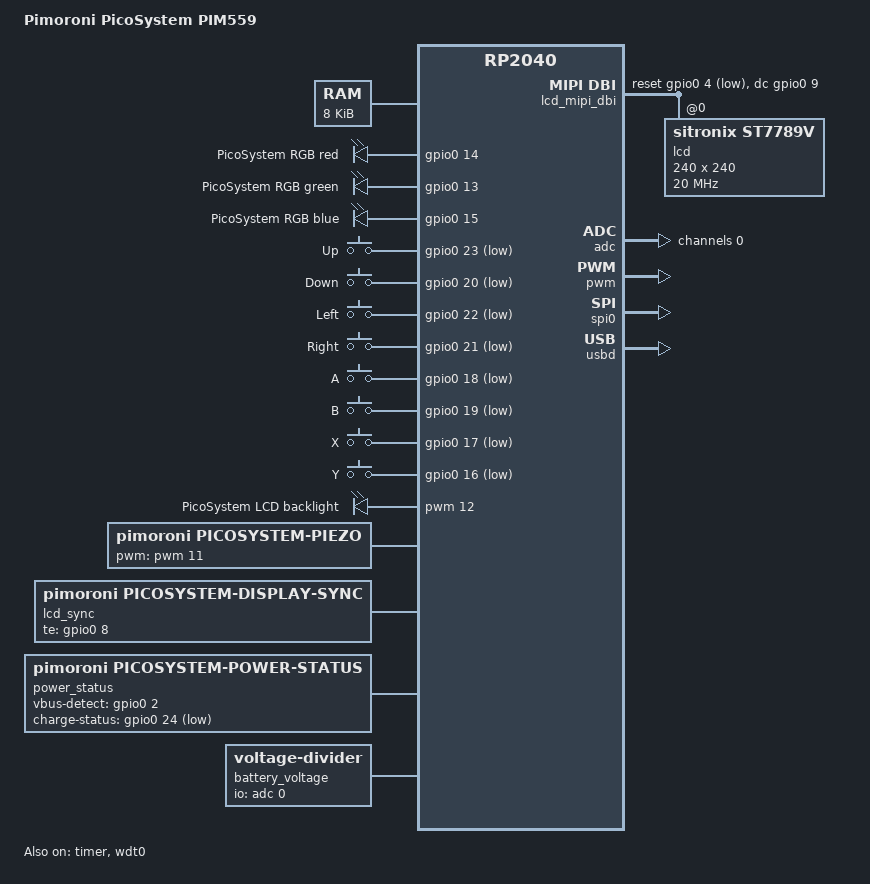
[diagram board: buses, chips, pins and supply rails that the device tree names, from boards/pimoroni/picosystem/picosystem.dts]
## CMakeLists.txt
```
# SPDX-License-Identifier: Apache-2.0

cmake_minimum_required(VERSION 3.20.0)

list(APPEND BOARD_ROOT ${CMAKE_CURRENT_SOURCE_DIR})
find_package(Zephyr REQUIRED HINTS $ENV{ZEPHYR_BASE})
project(toy_factory)

# Snapshot growth must leave room for transitive renderer and driver calls on
# the 5 KiB stacks. Emit per-function usage for inspection as well as a build gate.
set_source_files_properties(src/game_demo.c PROPERTIES
	COMPILE_OPTIONS "-fstack-usage;-Werror=frame-larger-than=3072")

if(CONFIG_TOY_FACTORY_CORE1_RUNTIME)
	zephyr_linker_sources(SECTIONS src/core1_ram.ld)
endif()

target_sources(app PRIVATE
	src/battery.c
	src/dense_scene.c
	src/diagnostic_shell.c
	src/display_profile.c
	src/display_sync.c
	src/fixed_rate_scheduler.c
	src/game_control.c
	src/game_demo.c
	src/game_snapshot.c
	src/garden_agent.c
	src/garden_agent_neural.c
	src/garden_agent_neural_codec.c
	src/garden_light.c
	src/garden_climate.c
	src/garden_world.c
	src/game_scene_clockwork.c
	src/game_scene_hourglass.c
	src/game_scene_marble_machine.c
	src/game_scene_machine_lab.c
	src/game_scene_selector.c
	src/game_world.c
	src/granular_world.c
	src/graphics.c
	src/graphics_raster.c
	src/main.c
	src/physics_chain_fixture.c
	src/physics_world.c
	src/physics_profile.c
	src/piezo.c
	src/power_status.c
	src/scene_renderer.c
)

target_sources_ifdef(CONFIG_TOY_FACTORY_CORE1_RUNTIME app PRIVATE src/core1_runtime.c)

if(CONFIG_SOC_SERIES_RP2040)
	# Zephyr otherwise uses software AEABI division. The pinned Pico SDK wrappers
	# preserve compiler semantics and save/restore each core's divider across IRQs.
	set(pico_divider_dir
		${ZEPHYR_HAL_RPI_PICO_MODULE_DIR}/src/rp2_common/pico_divider)
	target_sources(app PRIVATE ${pico_divider_dir}/divider_hardware.S)
	target_include_directories(app PRIVATE
		${ZEPHYR_HAL_RPI_PICO_MODULE_DIR}/src/rp2_common/hardware_divider/include)
	foreach(divider_symbol
		__aeabi_idiv
		__aeabi_idivmod
		__aeabi_ldivmod
		__aeabi_uidiv
		__aeabi_uidivmod
		__aeabi_uldivmod)
		target_link_options(app PUBLIC "-Wl,--wrap=${divider_symbol}")
	endforeach()
endif()
```

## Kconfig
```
# Copyright (c) 2026 Toy Factory contributors
# SPDX-License-Identifier: Apache-2.0

mainmenu "Toy Factory"

source "Kconfig.zephyr"

menu "Toy Factory"

config TOY_FACTORY_CORE1_RUNTIME
	bool "Enable the RP2040 auxiliary-core runtime"
	default y
	depends on SOC_RP2040
	help
	  Reserve the RP2040's two 4 KiB auxiliary SRAM banks and launch core 1 as
	  a bounded bare-metal worker. Zephyr and all device drivers remain on
	  core 0.

config TOY_FACTORY_CORE1_FULL_FRAME_RENDERER
	bool "Render every game frame on RP2040 core 1"
	default y if SPI_PL022_DMA
	depends on TOY_FACTORY_CORE1_RUNTIME
	help
	  Copy each immutable game snapshot to core 1 and rasterize a complete
	  framebuffer there. Core 0 keeps ownership of Zephyr, physics, USB, TE
	  timing, and the display DMA transfer. This defaults on for the PL022 DMA
	  transport used by the high-throughput build; slower transports retain the
	  damage-region renderer.

config TOY_FACTORY_RIGID_PHYSICS_IN_SRAM
	bool "Copy the rigid-physics hot path into SRAM"
	default y if TOY_FACTORY_CORE1_FULL_FRAME_RENDERER
	depends on SOC_RP2040
	help
	  Execute the large rigid-body step from SRAM instead of directly from XIP
	  flash. This avoids flash contention during rigid scenes, but consumes about
	  20 KiB of SRAM even when a non-rigid scene is active. Disable this for
	  controlled XIP measurements or RAM-constrained scenario builds.

choice TOY_FACTORY_HOURGLASS_POPULATION
	prompt "Hourglass grain population"
	default TOY_FACTORY_HOURGLASS_GRAINS_320
	help
	  Select a fixed deterministic packing for normal play or controlled device
	  profiling. Every population uses the same solver and rendering settings.

config TOY_FACTORY_HOURGLASS_GRAINS_96
	bool "96 grains (sparse benchmark)"

config TOY_FACTORY_HOURGLASS_GRAINS_192
	bool "192 grains (previous baseline)"

config TOY_FACTORY_HOURGLASS_GRAINS_320
	bool "320 grains (normal)"

config TOY_FACTORY_HOURGLASS_GRAINS_384
	bool "384 grains (stretch benchmark)"

endchoice

config TOY_FACTORY_GRANULAR_PHYSICS_IN_SRAM
	bool "Copy the granular-physics hot path into SRAM"
	default n
	depends on SOC_RP2040
	help
	  Execute the compact granular step from SRAM instead of XIP flash. This is
	  an optional placement experiment; unlike rigid physics, it is not enabled
	  automatically by the full-frame renderer.

config TOY_FACTORY_GRANULAR_WORK_COUNTERS
	bool "Collect granular solver work counters on every tick"
	default n
	help
	  Count broad-phase candidates, contacts, corrections, boundary work, and
	  grid occupancy for live diagnostics. This is disabled by default because
	  the bookkeeping has measurable cost in dense scenes. The explicit
	  "picosystem profile granular" command always collects these counters;
	  deterministic simulation state is unaffected.

config TOY_FACTORY_DISPLAY_DMA_HIGH_PRIORITY
	bool "Prioritize display DMA on the RP2040 bus fabric"
	default n
	depends on SOC_RP2040 && DMA
	help
	  Give the RP2040 DMA read and write masters high bus-arbitration priority.
	  This can reduce display-transfer jitter, but it can also delay both CPU
	  cores' SRAM access enough to hurt the 60 Hz physics deadline. It is kept
	  off by default and exists for controlled A/B measurements.

endmenu
```

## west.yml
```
manifest:
  version: "1.2"

  remotes:
    - name: zephyrproject-rtos
      url-base: https://github.com/zephyrproject-rtos

  projects:
    - name: zephyr
      remote: zephyrproject-rtos
      revision: v4.4.2
      import:
        # These are the only external modules required by the RP2040 port.
        name-allowlist:
          - cmsis_6
          - hal_rpi_pico

  self:
    path: app
```

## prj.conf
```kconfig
# Keep bring-up observable. USB CDC console defaults come from the PicoSystem
# board definition.
CONFIG_ADC=y
CONFIG_BASE64=y
CONFIG_CDC_ACM_SERIAL_MANUFACTURER_STRING="Toy Factory"
CONFIG_CDC_ACM_SERIAL_PRODUCT_STRING="Toy Factory PicoSystem"
CONFIG_DISPLAY=y
CONFIG_CRC=y
CONFIG_GPIO=y
CONFIG_INIT_STACKS=y
CONFIG_LOG=y
CONFIG_LOG_DEFAULT_LEVEL=3
CONFIG_MBOX=y
CONFIG_PWM=y
CONFIG_REBOOT=y
CONFIG_RETAINED_MEM=y
CONFIG_RETENTION=y
CONFIG_RETENTION_BOOT_MODE=y
CONFIG_SHELL=y
CONFIG_SHELL_BACKEND_SERIAL=y
CONFIG_SHELL_BACKEND_SERIAL_CHECK_DTR=y
CONFIG_SHELL_BACKEND_SERIAL_LOG_MESSAGE_QUEUE_SIZE=512
CONFIG_SHELL_BACKEND_SERIAL_RX_RING_BUFFER_SIZE=128
CONFIG_SHELL_BACKEND_SERIAL_TX_RING_BUFFER_SIZE=1024
CONFIG_SHELL_CMDS_RESIZE=n
CONFIG_SHELL_DEVICE_HELPERS=n
CONFIG_SHELL_LOG_BACKEND=y
CONFIG_SHELL_PROMPT_UART="toy-factory:~$ "
CONFIG_SHELL_PROMPT_CHANGE=n
# The synchronous physics profiler measures about 3.8 KiB on the shell thread.
CONFIG_SHELL_STACK_SIZE=5120
CONFIG_SHELL_STATS=n
CONFIG_SHELL_WILDCARD=n
# Keep recovery and diagnostics responsive even when the simulation overruns.
CONFIG_SHELL_THREAD_PRIORITY_OVERRIDE=y
CONFIG_SHELL_THREAD_PRIORITY=1
CONFIG_SPI=y
CONFIG_ST7789V_RGB565X=y
CONFIG_THREAD_STACK_INFO=y
CONFIG_UART_LINE_CTRL=y
CONFIG_DATE_SHELL=n
CONFIG_DEVICE_SHELL=n
CONFIG_DEVMEM_SHELL=n
CONFIG_KERNEL_SHELL=n
CONFIG_ASSERT=y
# Collision narrow phase adds a bounded but deeper physics call path.
CONFIG_MAIN_STACK_SIZE=5120
CONFIG_MAIN_THREAD_PRIORITY=0
```

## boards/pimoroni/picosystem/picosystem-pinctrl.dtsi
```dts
/*
 * Copyright (c) 2026 Toy Factory contributors
 *
 * SPDX-License-Identifier: Apache-2.0
 */

#include <zephyr/dt-bindings/pinctrl/rpi-pico-rp2040-pinctrl.h>

&pinctrl {
	picosystem_adc_default: picosystem_adc_default {
		group1 {
			pinmux = <ADC_CH0_P26>;
			input-enable;
		};
	};

	picosystem_spi0_default: picosystem_spi0_default {
		group1 {
			pinmux = <SPI0_SCK_P6>, <SPI0_TX_P7>;
		};
	};

	picosystem_pwm_default: picosystem_pwm_default {
		group1 {
			pinmux = <PWM_5B_P11>, <PWM_6A_P12>;
		};
	};
};
```

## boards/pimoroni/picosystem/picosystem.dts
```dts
/*
 * Copyright (c) 2026 Toy Factory contributors
 *
 * SPDX-License-Identifier: Apache-2.0
 */

/dts-v1/;

#include <raspberrypi/rpi_pico/rp2040.dtsi>
#include <vendor/raspberrypi/rp2040-boot-mode-retention.dtsi>
#include <zephyr/dt-bindings/gpio/gpio.h>
#include <zephyr/dt-bindings/input/input-event-codes.h>
#include <zephyr/dt-bindings/mipi_dbi/mipi_dbi.h>
#include <zephyr/dt-bindings/pwm/pwm.h>
#include "picosystem-pinctrl.dtsi"

/ {
	model = "Pimoroni PicoSystem PIM559";
	compatible = "pimoroni,picosystem";

	core1_ram: memory@20040000 {
		compatible = "zephyr,memory-region", "mmio-sram";
		reg = <0x20040000 0x2000>;
		zephyr,memory-region = "CORE1_RAM";
	};

	chosen {
		zephyr,sram = &sram0;
		zephyr,flash = &flash0;
		zephyr,flash-controller = &ssi;
		zephyr,code-partition = &code_partition;
		zephyr,display = &lcd;
	};

	aliases {
		led0 = &led_blue;
		sw0 = &button_x;
		watchdog0 = &wdt0;
	};

	leds {
		compatible = "gpio-leds";

		led_red: led_red {
			gpios = <&gpio0 14 GPIO_ACTIVE_HIGH>;
			label = "PicoSystem RGB red";
		};

		led_green: led_green {
			gpios = <&gpio0 13 GPIO_ACTIVE_HIGH>;
			label = "PicoSystem RGB green";
		};

		led_blue: led_blue {
			gpios = <&gpio0 15 GPIO_ACTIVE_HIGH>;
			label = "PicoSystem RGB blue";
		};
	};

	buttons {
		compatible = "gpio-keys";

		button_up: button_up {
			gpios = <&gpio0 23 (GPIO_PULL_UP | GPIO_ACTIVE_LOW)>;
			label = "Up";
			zephyr,code = <INPUT_KEY_UP>;
		};

		button_down: button_down {
			gpios = <&gpio0 20 (GPIO_PULL_UP | GPIO_ACTIVE_LOW)>;
			label = "Down";
			zephyr,code = <INPUT_KEY_DOWN>;
		};

		button_left: button_left {
			gpios = <&gpio0 22 (GPIO_PULL_UP | GPIO_ACTIVE_LOW)>;
			label = "Left";
			zephyr,code = <INPUT_KEY_LEFT>;
		};

		button_right: button_right {
			gpios = <&gpio0 21 (GPIO_PULL_UP | GPIO_ACTIVE_LOW)>;
			label = "Right";
			zephyr,code = <INPUT_KEY_RIGHT>;
		};

		button_a: button_a {
			gpios = <&gpio0 18 (GPIO_PULL_UP | GPIO_ACTIVE_LOW)>;
			label = "A";
			zephyr,code = <INPUT_KEY_A>;
		};

		button_b: button_b {
			gpios = <&gpio0 19 (GPIO_PULL_UP | GPIO_ACTIVE_LOW)>;
			label = "B";
			zephyr,code = <INPUT_KEY_B>;
		};

		button_x: button_x {
			gpios = <&gpio0 17 (GPIO_PULL_UP | GPIO_ACTIVE_LOW)>;
			label = "X";
			zephyr,code = <INPUT_KEY_X>;
		};

		button_y: button_y {
			gpios = <&gpio0 16 (GPIO_PULL_UP | GPIO_ACTIVE_LOW)>;
			label = "Y";
			zephyr,code = <INPUT_KEY_Y>;
		};
	};

	pwm_leds {
		compatible = "pwm-leds";

		lcd_backlight: lcd-backlight {
			pwms = <&pwm 12 PWM_USEC(50) PWM_POLARITY_NORMAL>;
			label = "PicoSystem LCD backlight";
		};
	};

	piezo: piezo {
		compatible = "pimoroni,picosystem-piezo";
		pwms = <&pwm 11 PWM_HZ(440) PWM_POLARITY_NORMAL>;
		status = "okay";
	};

	lcd_sync: lcd-sync {
		compatible = "pimoroni,picosystem-display-sync";
		te-gpios = <&gpio0 8 GPIO_ACTIVE_HIGH>;
		mipi-dbi = <&lcd_mipi_dbi>;
		status = "okay";
	};

	power_status: power-status {
		compatible = "pimoroni,picosystem-power-status";
		vbus-detect-gpios = <&gpio0 2 GPIO_ACTIVE_HIGH>;
		charge-status-gpios = <&gpio0 24 (GPIO_PULL_UP | GPIO_ACTIVE_LOW)>;
		status = "okay";
	};

	battery_voltage: battery-voltage {
		compatible = "voltage-divider";
		io-channels = <&adc 0>;
		output-ohms = <750000>;
		full-ohms = <(1500000 + 750000)>;
		status = "okay";
	};

	lcd_mipi_dbi: mipi-dbi {
		compatible = "zephyr,mipi-dbi-spi";
		spi-dev = <&spi0>;
		dc-gpios = <&gpio0 9 GPIO_ACTIVE_HIGH>;
		reset-gpios = <&gpio0 4 GPIO_ACTIVE_LOW>;
		write-only;
		#address-cells = <1>;
		#size-cells = <0>;
		status = "okay";

		lcd: st7789v@0 {
			compatible = "sitronix,st7789v";
			reg = <0>;
			mipi-max-frequency = <20000000>;
			width = <240>;
			height = <240>;
			x-offset = <0>;
			y-offset = <0>;
			vcom = <0x25>;
			gctrl = <0x14>;
			vrhs = <0x12>;
			vdvs = <0x20>;
			mdac = <0x04>;
			gamma = <0x01>;
			colmod = <0x05>;
			lcm = <0x2c>;
			porch-param = [0c 0c 00 33 33];
			cmd2en-param = [5a 69 02 01];
			pwctrl1-param = [a4 a1];
			pvgam-param = [d0 04 0d 11 13 2b 3f 54 4c 18 0d 0b 1f 23];
			nvgam-param = [d0 04 0c 11 13 2c 3f 44 51 2f 1f 1f 20 23];
			ram-param = [00 f0];
			rgb-param = [cd 08 14];
			mipi-mode = "MIPI_DBI_MODE_SPI_4WIRE";
			status = "okay";
		};
	};
};

/* Keep SRAM4 and SRAM5 exclusively available to the bare-metal core-1 worker. */
&sram0 {
	reg = <0x20000004 0x3fffc>;
};

&adc {
	pinctrl-0 = <&picosystem_adc_default>;
	pinctrl-names = "default";
	vref-mv = <3300>;
	#address-cells = <1>;
	#size-cells = <0>;
	status = "okay";

	channel@0 {
		reg = <0>;
		zephyr,gain = "ADC_GAIN_1";
		zephyr,reference = "ADC_REF_INTERNAL";
		zephyr,acquisition-time = <ADC_ACQ_TIME_DEFAULT>;
		zephyr,resolution = <12>;
	};
};

&flash0 {
	reg = <0x10000000 DT_SIZE_M(16)>;
	ranges = <0x0 0x10000000 DT_SIZE_M(16)>;

	partitions {
		compatible = "fixed-partitions";
		#address-cells = <1>;
		#size-cells = <1>;

		second_stage_bootloader: partition@0 {
			label = "second_stage_bootloader";
			reg = <0x00000000 0x100>;
			read-only;
		};

		code_partition: partition@100 {
			label = "code-partition";
			reg = <0x100 (DT_SIZE_M(16) - 0x100)>;
			read-only;
		};
	};
};

&gpio0 {
	status = "okay";
};

&mbox {
	status = "okay";
};

&pwm {
	pinctrl-0 = <&picosystem_pwm_default>;
	pinctrl-names = "default";
	status = "okay";
};

&spi0 {
	pinctrl-0 = <&picosystem_spi0_default>;
	pinctrl-names = "default";
	cs-gpios = <&gpio0 5 GPIO_ACTIVE_LOW>;
	status = "okay";
};

&timer {
	status = "okay";
};

&wdt0 {
	status = "okay";
};

zephyr_udc0: &usbd {
	status = "okay";
};

&vreg {
	regulator-always-on;
	regulator-allowed-modes = <REGULATOR_RPI_PICO_MODE_NORMAL>;
};

#include <../boards/common/usb/cdc_acm_serial.dtsi>
```

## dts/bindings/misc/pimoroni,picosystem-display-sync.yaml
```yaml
# Copyright (c) 2026 Toy Factory contributors
# SPDX-License-Identifier: Apache-2.0

description: LCD tearing-effect signal on the Pimoroni PicoSystem

compatible: "pimoroni,picosystem-display-sync"

include: base.yaml

properties:
  te-gpios:
    type: phandle-array
    required: true
    description: Active-high ST7789 tearing-effect output.

  mipi-dbi:
    type: phandle
    required: true
    description: MIPI DBI controller used to enable the panel signal.
```

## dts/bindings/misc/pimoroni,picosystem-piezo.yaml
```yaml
# Copyright (c) 2026 Toy Factory contributors
# SPDX-License-Identifier: Apache-2.0

description: PWM-driven piezo transducer on the Pimoroni PicoSystem

compatible: "pimoroni,picosystem-piezo"

include: base.yaml

properties:
  pwms:
    type: phandle-array
    required: true
    description: PWM specifier driving the piezo transducer.
```

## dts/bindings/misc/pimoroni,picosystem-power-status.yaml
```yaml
# Copyright (c) 2026 Toy Factory contributors
# SPDX-License-Identifier: Apache-2.0

description: USB power and LiPo charger status inputs on the Pimoroni PicoSystem

compatible: "pimoroni,picosystem-power-status"

include: base.yaml

properties:
  vbus-detect-gpios:
    type: phandle-array
    required: true
    description: |
      Active-high divided VBUS input. This pin also enables the board's
      automatic red charge indicator and must remain configured as an input.

  charge-status-gpios:
    type: phandle-array
    required: true
    description: Active-low status output from the LiPo charger.
```

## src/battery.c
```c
/*
 * Copyright (c) 2026 Toy Factory contributors
 *
 * SPDX-License-Identifier: Apache-2.0
 */

#include "battery.h"

#include <errno.h>
#include <limits.h>
#include <stdbool.h>
#include <stdint.h>

#include <zephyr/drivers/adc.h>
#include <zephyr/drivers/adc/voltage_divider.h>
#include <zephyr/logging/log.h>
#include <zephyr/sys/util.h>

LOG_MODULE_REGISTER(picosystem_battery, LOG_LEVEL_INF);

#define BATTERY_SAMPLE_COUNT     16U
#define BATTERY_PLAUSIBLE_MIN_MV 2500U
#define BATTERY_PLAUSIBLE_MAX_MV 4300U

static const struct voltage_divider_dt_spec battery_voltage =
	VOLTAGE_DIVIDER_DT_SPEC_GET(DT_NODELABEL(battery_voltage));
static bool battery_initialized;

BUILD_ASSERT(BATTERY_SAMPLE_COUNT > 0U);
BUILD_ASSERT((BATTERY_SAMPLE_COUNT * BIT(12)) <= UINT32_MAX);

int picosystem_battery_init(void)
{
	if (!adc_is_ready_dt(&battery_voltage.port)) {
		LOG_ERR("Battery ADC controller is not ready");
		return -ENODEV;
	}

	const int err = adc_channel_setup_dt(&battery_voltage.port);
	if (err != 0) {
		LOG_ERR("Failed to configure battery ADC channel (%d)", err);
		return err;
	}

	battery_initialized = true;
	return 0;
}

int picosystem_battery_read(struct picosystem_battery_sample *sample)
{
	if (sample == NULL) {
		return -EINVAL;
	}

	if (!battery_initialized) {
		return -EACCES;
	}

	uint16_t raw_samples[BATTERY_SAMPLE_COUNT];
	const struct adc_sequence_options options = {
		.extra_samplings = BATTERY_SAMPLE_COUNT - 1U,
		.interval_us = 0U,
	};
	struct adc_sequence sequence = {
		.options = &options,
		.buffer = raw_samples,
		.buffer_size = sizeof(raw_samples),
	};

	int err = adc_sequence_init_dt(&battery_voltage.port, &sequence);
	if (err != 0) {
		LOG_ERR("Failed to initialize battery ADC sequence (%d)", err);
		return err;
	}

	err = adc_read_dt(&battery_voltage.port, &sequence);
	if (err != 0) {
		LOG_ERR("Failed to read battery ADC samples (%d)", err);
		return err;
	}

	uint32_t raw_sum = 0U;
	for (size_t i = 0U; i < ARRAY_SIZE(raw_samples); ++i) {
		raw_sum += raw_samples[i];
	}

	const uint16_t raw_average = DIV_ROUND_CLOSEST(raw_sum, BATTERY_SAMPLE_COUNT);
	int32_t sense_microvolts = raw_average;

	err = adc_raw_to_microvolts_dt(&battery_voltage.port, &sense_microvolts);
	if (err != 0) {
		LOG_ERR("Failed to convert battery ADC reading (%d)", err);
		return err;
	}

	int64_t battery_microvolts = sense_microvolts;
	err = voltage_divider_scale64_dt(&battery_voltage, &battery_microvolts);
	if (err != 0) {
		LOG_ERR("Failed to scale battery divider voltage (%d)", err);
		return err;
	}

	if ((battery_microvolts < 0) || (battery_microvolts > ((int64_t)UINT16_MAX * 1000))) {
		LOG_ERR("Converted battery voltage is out of range (%lld uV)", battery_microvolts);
		return -ERANGE;
	}

	const uint16_t millivolts = (uint16_t)((battery_microvolts + 500) / 1000);

	const struct picosystem_battery_sample next_sample = {
		.millivolts = millivolts,
		.raw_average = raw_average,
		.plausible = (millivolts >= BATTERY_PLAUSIBLE_MIN_MV) &&
			     (millivolts <= BATTERY_PLAUSIBLE_MAX_MV),
	};

	*sample = next_sample;
	return 0;
}
```

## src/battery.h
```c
/*
 * Copyright (c) 2026 Toy Factory contributors
 *
 * SPDX-License-Identifier: Apache-2.0
 */

#ifndef PICOSYSTEM_BATTERY_H
#define PICOSYSTEM_BATTERY_H

#include <stdbool.h>
#include <stdint.h>

struct picosystem_battery_sample {
	/* Divider-corrected battery voltage. */
	uint16_t millivolts;
	/* Mean 12-bit ADC code before voltage conversion. */
	uint16_t raw_average;
	/* True when the result is within a broad single-cell LiPo sanity range. */
	bool plausible;
};

/* Configure the battery voltage ADC channel. */
int picosystem_battery_init(void);

/* Read and average a bounded batch of battery voltage samples. */
int picosystem_battery_read(struct picosystem_battery_sample *sample);

#endif /* PICOSYSTEM_BATTERY_H */
```

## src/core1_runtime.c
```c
/*
 * Copyright (c) 2026 Toy Factory contributors
 *
 * SPDX-License-Identifier: Apache-2.0
 */

#include "core1_runtime.h"

#include <errno.h>
#include <stdbool.h>
#include <stddef.h>
#include <stdint.h>
#include <string.h>

#include <zephyr/device.h>
#include <zephyr/drivers/mbox.h>
#include <zephyr/irq.h>
#include <zephyr/kernel.h>
#include <zephyr/sys/util.h>

#include <hardware/regs/intctrl.h>
#include <hardware/regs/psm.h>
#include <hardware/regs/sio.h>
#include <hardware/structs/psm.h>
#include <hardware/structs/scb.h>
#include <hardware/structs/sio.h>
#include <hardware/structs/timer.h>
#include <hardware/sync.h>

#define CORE1_PROTOCOL_MAGIC       0x54463143U
#define CORE1_PROTOCOL_VERSION     7U
#define CORE1_RESERVED_BANK_BYTES  4096U
#define CORE1_STACK_BYTES          4096U
#define CORE1_STACK_WORDS          (CORE1_STACK_BYTES / sizeof(uint32_t))
#define CORE1_STACK_CANARY         0xa5a5a5a5U
#define CORE1_HANDSHAKE_TIMEOUT_MS 50
#define CORE1_COMMAND_TIMEOUT_MS   50
#define CORE1_VECTOR_COUNT         48U
#define CORE1_PING_XOR             0x6d5a56a9U
#define CORE1_FIFO_EVENT           0x54464556U
#define CORE1_SCENE_STRIP_ROWS     120U
#define CORE1_SCENE_STRIP_COUNT    DIV_ROUND_UP(PICOSYSTEM_GRAPHICS_HEIGHT, CORE1_SCENE_STRIP_ROWS)
#define CORE1_STORAGE_SECTION      __attribute__((section(".core1_ram"), aligned(4096), used))

enum core1_command {
	CORE1_COMMAND_NONE,
	CORE1_COMMAND_PING,
	CORE1_COMMAND_DRAW_DENSE,
	CORE1_COMMAND_RENDER_SCENE,
	CORE1_COMMAND_RENDER_SCENE_STREAM,
	CORE1_COMMAND_STOP,
};

struct core1_mailbox {
	uint32_t magic;
	uint32_t protocol_version;
	volatile uint32_t state;
	volatile uint32_t core_id;
	volatile uint32_t command;
	volatile uint32_t requested_sequence;
	volatile uint32_t completed_sequence;
	volatile uint32_t request_value;
	volatile uint32_t response_value;
	volatile uint32_t dense_stage_time_us[PICOSYSTEM_DENSE_SCENE_STAGE_COUNT];
	volatile uint32_t dense_total_time_us;
	struct picosystem_scene_snapshot scene_snapshot;
	volatile uint32_t scene_raster_time_us;
	struct picosystem_scene_render_progress scene_progress;
	volatile uint32_t ready_strip_count;
	volatile uint32_t scene_strip_count;
	volatile uint32_t heartbeat_count;
	volatile int32_t error;
};

struct core1_storage {
	struct core1_mailbox mailbox;
	uint8_t mailbox_bank_padding[CORE1_RESERVED_BANK_BYTES - sizeof(struct core1_mailbox)];
	uint32_t stack[CORE1_STACK_WORDS];
};

static struct core1_storage core1_storage CORE1_STORAGE_SECTION;
static bool core1_ready;
static const struct device *const core1_mailbox = DEVICE_DT_GET(DT_NODELABEL(mbox));

K_MUTEX_DEFINE(core1_command_mutex);
K_SEM_DEFINE(core1_event, 0U, 1U);

BUILD_ASSERT(sizeof(struct core1_mailbox) <= CORE1_RESERVED_BANK_BYTES);
BUILD_ASSERT(sizeof(struct core1_storage) == (2U * CORE1_RESERVED_BANK_BYTES));
BUILD_ASSERT((CORE1_STACK_BYTES % sizeof(uint32_t)) == 0U);
BUILD_ASSERT(CORE1_VECTOR_COUNT >= 48U);

static inline void core1_memory_barrier(void)
{
	__asm__ volatile("dmb" ::: "memory");
}

static inline void core1_send_event(void)
{
	if ((sio_hw->cpuid == 1U) && ((sio_hw->fifo_st & SIO_FIFO_ST_RDY_BITS) != 0U)) {
		sio_hw->fifo_wr = CORE1_FIFO_EVENT;
	}
	__asm__ volatile("sev" ::: "memory");
}

static inline void core1_wait_for_event(void)
{
	__asm__ volatile("wfe" ::: "memory");
}

static inline void core1_disable_interrupts(void)
{
	__asm__ volatile("cpsid i" ::: "memory");
}

static uint32_t ping_response(uint32_t challenge)
{
	return ((challenge << 7U) | (challenge >> 25U)) ^ CORE1_PING_XOR;
}

static int core1_draw_dense(uint32_t frame_index)
{
	const uint32_t total_start_us = timer_hw->timerawl;
	for (enum picosystem_dense_scene_stage stage = PICOSYSTEM_DENSE_SCENE_STAGE_BACKGROUND;
	     stage < PICOSYSTEM_DENSE_SCENE_STAGE_COUNT; ++stage) {
		const uint32_t stage_start_us = timer_hw->timerawl;
		const int err = picosystem_dense_scene_draw_stage(stage, frame_index);
		core1_storage.mailbox.dense_stage_time_us[stage] =
			timer_hw->timerawl - stage_start_us;
		if (err != 0) {
			core1_storage.mailbox.dense_total_time_us =
				timer_hw->timerawl - total_start_us;
			return err;
		}
	}
	core1_storage.mailbox.dense_total_time_us = timer_hw->timerawl - total_start_us;
	return 0;
}

static int core1_render_scene_stream(void)
{
	const uint32_t raster_start_us = timer_hw->timerawl;
	core1_storage.mailbox.scene_raster_time_us = 0U;
	core1_storage.mailbox.ready_strip_count = 0U;
	core1_storage.mailbox.scene_strip_count = CORE1_SCENE_STRIP_COUNT;
	core1_storage.mailbox.scene_progress = (struct picosystem_scene_render_progress){0};

	for (uint32_t strip_index = 0U; strip_index < CORE1_SCENE_STRIP_COUNT; ++strip_index) {
		const uint16_t y = strip_index * CORE1_SCENE_STRIP_ROWS;
		const struct picosystem_rect region = {
			.x = 0U,
			.y = y,
			.width = PICOSYSTEM_GRAPHICS_WIDTH,
			.height = MIN(CORE1_SCENE_STRIP_ROWS, PICOSYSTEM_GRAPHICS_HEIGHT - y),
		};
		const int err = picosystem_scene_render_region_observed(
			&core1_storage.mailbox.scene_snapshot, &region,
			&core1_storage.mailbox.scene_progress);
		if (err != 0) {
			core1_storage.mailbox.scene_raster_time_us =
				timer_hw->timerawl - raster_start_us;
			return err;
		}

		core1_memory_barrier();
		core1_storage.mailbox.ready_strip_count = strip_index + 1U;
		core1_send_event();
	}

	core1_storage.mailbox.scene_raster_time_us = timer_hw->timerawl - raster_start_us;
	return 0;
}

static void core1_publish_fault(int error) __attribute__((noreturn));

static void core1_publish_fault(int error)
{
	core1_storage.mailbox.error = error;
	core1_storage.mailbox.state = PICOSYSTEM_CORE1_STATE_FAULT;
	core1_memory_barrier();
	core1_send_event();

	while (true) {
		core1_wait_for_event();
	}
}

static void core1_fault_handler(void) __attribute__((noreturn));

static void core1_fault_handler(void)
{
	core1_publish_fault(-EFAULT);
}

static void core1_entry(void) __attribute__((noreturn));

static void core1_entry(void)
{
	core1_disable_interrupts();
	if ((core1_storage.mailbox.magic != CORE1_PROTOCOL_MAGIC) ||
	    (core1_storage.mailbox.protocol_version != CORE1_PROTOCOL_VERSION)) {
		core1_publish_fault(-EPROTO);
	}
	if (sio_hw->cpuid != 1U) {
		core1_publish_fault(-ENODEV);
	}

	core1_storage.mailbox.core_id = sio_hw->cpuid;
	core1_storage.mailbox.error = 0;
	core1_storage.mailbox.state = PICOSYSTEM_CORE1_STATE_IDLE;
	core1_memory_barrier();
	core1_send_event();

	uint32_t completed_sequence = core1_storage.mailbox.completed_sequence;
	while (true) {
		core1_memory_barrier();
		const uint32_t requested_sequence = core1_storage.mailbox.requested_sequence;
		if (requested_sequence == completed_sequence) {
			core1_wait_for_event();
			continue;
		}

		core1_storage.mailbox.state = PICOSYSTEM_CORE1_STATE_RUNNING;
		core1_storage.mailbox.error = 0;
		core1_memory_barrier();

		switch ((enum core1_command)core1_storage.mailbox.command) {
		case CORE1_COMMAND_PING:
			core1_storage.mailbox.response_value =
				ping_response(core1_storage.mailbox.request_value);
			break;
		case CORE1_COMMAND_DRAW_DENSE:
			for (size_t stage = 0U; stage < PICOSYSTEM_DENSE_SCENE_STAGE_COUNT;
			     ++stage) {
				core1_storage.mailbox.dense_stage_time_us[stage] = 0U;
			}
			core1_storage.mailbox.dense_total_time_us = 0U;
			core1_storage.mailbox.error =
				core1_draw_dense(core1_storage.mailbox.request_value);
			break;
		case CORE1_COMMAND_RENDER_SCENE: {
			const uint32_t raster_start_us = timer_hw->timerawl;
			core1_storage.mailbox.scene_raster_time_us = 0U;
			core1_storage.mailbox.scene_progress =
				(struct picosystem_scene_render_progress){0};
			core1_storage.mailbox.error = picosystem_scene_render_full_observed(
				&core1_storage.mailbox.scene_snapshot,
				&core1_storage.mailbox.scene_progress);
			core1_storage.mailbox.scene_raster_time_us =
				timer_hw->timerawl - raster_start_us;
			break;
		}
		case CORE1_COMMAND_RENDER_SCENE_STREAM:
			core1_storage.mailbox.error = core1_render_scene_stream();
			break;
		case CORE1_COMMAND_STOP:
			core1_storage.mailbox.state = PICOSYSTEM_CORE1_STATE_STOPPED;
			core1_storage.mailbox.completed_sequence = requested_sequence;
			core1_memory_barrier();
			core1_send_event();
			while (true) {
				core1_wait_for_event();
			}
		case CORE1_COMMAND_NONE:
		default:
			core1_storage.mailbox.error = -ENOTSUP;
			break;
		}

		completed_sequence = requested_sequence;
		if (core1_storage.mailbox.heartbeat_count != UINT32_MAX) {
			++core1_storage.mailbox.heartbeat_count;
		}
		core1_storage.mailbox.state = PICOSYSTEM_CORE1_STATE_IDLE;
		core1_memory_barrier();
		core1_storage.mailbox.completed_sequence = completed_sequence;
		core1_send_event();
	}
}

static const uintptr_t core1_vector_table[CORE1_VECTOR_COUNT]
	__attribute__((aligned(256), used)) = {
		[0] = (uintptr_t)&core1_storage.stack[CORE1_STACK_WORDS],
		[1] = (uintptr_t)core1_entry,
		[2 ... CORE1_VECTOR_COUNT - 1U] = (uintptr_t)core1_fault_handler,
};

static bool deadline_expired(int64_t deadline_ms)
{
	return k_uptime_get() >= deadline_ms;
}

static void core1_mailbox_callback(const struct device *device, mbox_channel_id_t channel,
				   void *user_data, struct mbox_msg *message)
{
	ARG_UNUSED(device);
	ARG_UNUSED(channel);
	ARG_UNUSED(user_data);
	ARG_UNUSED(message);

	k_sem_give(&core1_event);
}

static int wait_for_core1_event(int64_t deadline_ms)
{
	const int64_t remaining_ms = deadline_ms - k_uptime_get();
	if (remaining_ms <= 0) {
		return -ETIMEDOUT;
	}

	const int err = k_sem_take(&core1_event, K_MSEC(remaining_ms));
	return (err == -EAGAIN) ? -ETIMEDOUT : err;
}

static int wait_for_fifo_value(uint32_t *value, int64_t deadline_ms)
{
	while ((sio_hw->fifo_st & SIO_FIFO_ST_VLD_BITS) == 0U) {
		if (deadline_expired(deadline_ms)) {
			return -ETIMEDOUT;
		}
		k_busy_wait(1U);
	}

	*value = sio_hw->fifo_rd;
	return 0;
}

static int write_fifo_value(uint32_t value, int64_t deadline_ms)
{
	while ((sio_hw->fifo_st & SIO_FIFO_ST_RDY_BITS) == 0U) {
		if (deadline_expired(deadline_ms)) {
			return -ETIMEDOUT;
		}
		k_busy_wait(1U);
	}

	sio_hw->fifo_wr = value;
	core1_send_event();
	return 0;
}

static void drain_fifo(void)
{
	while ((sio_hw->fifo_st & SIO_FIFO_ST_VLD_BITS) != 0U) {
		(void)sio_hw->fifo_rd;
	}
	sio_hw->fifo_st = SIO_FIFO_ST_ROE_BITS | SIO_FIFO_ST_WOF_BITS;
}

static int reset_core1(int64_t deadline_ms)
{
	hw_set_bits(&psm_hw->frce_off, PSM_FRCE_OFF_PROC1_BITS);
	while ((psm_hw->frce_off & PSM_FRCE_OFF_PROC1_BITS) == 0U) {
		if (deadline_expired(deadline_ms)) {
			return -ETIMEDOUT;
		}
	}

	drain_fifo();
	hw_clear_bits(&psm_hw->frce_off, PSM_FRCE_OFF_PROC1_BITS);

	uint32_t response;
	const int err = wait_for_fifo_value(&response, deadline_ms);
	if (err != 0) {
		return err;
	}
	return (response == 0U) ? 0 : -EPROTO;
}

static int launch_core1(int64_t deadline_ms)
{
	const uint32_t stack_pointer = (uint32_t)(uintptr_t)&core1_storage.stack[CORE1_STACK_WORDS];
	const uint32_t commands[] = {
		0U,
		0U,
		1U,
		(uint32_t)(uintptr_t)core1_vector_table,
		stack_pointer,
		(uint32_t)(uintptr_t)core1_entry,
	};

	size_t command_index = 0U;
	while (command_index < ARRAY_SIZE(commands)) {
		const uint32_t command = commands[command_index];
		if (command == 0U) {
			drain_fifo();
			core1_send_event();
		}

		int err = write_fifo_value(command, deadline_ms);
		if (err != 0) {
			return err;
		}

		uint32_t response;
		err = wait_for_fifo_value(&response, deadline_ms);
		if (err != 0) {
			return err;
		}
		command_index = (response == command) ? command_index + 1U : 0U;
	}

	return 0;
}

static int wait_for_state(enum picosystem_core1_state state, int64_t deadline_ms)
{
	while (true) {
		core1_memory_barrier();
		if (core1_storage.mailbox.state == (uint32_t)state) {
			return 0;
		}
		if (core1_storage.mailbox.state == PICOSYSTEM_CORE1_STATE_FAULT) {
			return (core1_storage.mailbox.error != 0) ? core1_storage.mailbox.error
								  : -EIO;
		}
		if (deadline_expired(deadline_ms)) {
			return -ETIMEDOUT;
		}
		k_usleep(50U);
	}
}

static void mark_core1_unavailable(int error)
{
	core1_ready = false;
	hw_set_bits(&psm_hw->frce_off, PSM_FRCE_OFF_PROC1_BITS);
	core1_storage.mailbox.error = error;
	core1_storage.mailbox.state = PICOSYSTEM_CORE1_STATE_FAULT;
	core1_memory_barrier();
}

int picosystem_core1_init(void)
{
	if (core1_ready) {
		return -EALREADY;
	}
	if (!device_is_ready(core1_mailbox)) {
		return -ENODEV;
	}

	memset((void *)&core1_storage.mailbox, 0, sizeof(core1_storage.mailbox));
	for (size_t index = 0U; index < ARRAY_SIZE(core1_storage.stack); ++index) {
		core1_storage.stack[index] = CORE1_STACK_CANARY;
	}
	core1_storage.mailbox.magic = CORE1_PROTOCOL_MAGIC;
	core1_storage.mailbox.protocol_version = CORE1_PROTOCOL_VERSION;
	core1_storage.mailbox.state = PICOSYSTEM_CORE1_STATE_BOOTING;
	core1_memory_barrier();

	irq_disable(SIO_IRQ_PROC0);
	const int64_t deadline_ms = k_uptime_get() + CORE1_HANDSHAKE_TIMEOUT_MS;
	int err = reset_core1(deadline_ms);
	if (err == 0) {
		err = launch_core1(deadline_ms);
	}
	if (err != 0) {
		mark_core1_unavailable(err);
		return err;
	}

	err = wait_for_state(PICOSYSTEM_CORE1_STATE_IDLE, deadline_ms);
	if (err != 0) {
		mark_core1_unavailable(err);
		return err;
	}
	err = mbox_register_callback(core1_mailbox, 0U, core1_mailbox_callback, NULL);
	if (err == 0) {
		err = mbox_set_enabled(core1_mailbox, 0U, true);
	}
	if (err != 0) {
		mark_core1_unavailable(err);
		return err;
	}
	core1_ready = true;

	uint32_t response;
	err = picosystem_core1_ping(0x01234567U, &response);
	if ((err != 0) || (response != ping_response(0x01234567U))) {
		const int probe_err = (err != 0) ? err : -EIO;
		mark_core1_unavailable(probe_err);
		return probe_err;
	}

	return 0;
}

static int start_command_locked(enum core1_command command, uint32_t request_value,
				uint32_t *sequence)
{
	if (!core1_ready) {
		return -EAGAIN;
	}

	core1_memory_barrier();
	if ((core1_storage.mailbox.state != PICOSYSTEM_CORE1_STATE_IDLE) ||
	    (core1_storage.mailbox.requested_sequence !=
	     core1_storage.mailbox.completed_sequence)) {
		return -EBUSY;
	}

	*sequence = core1_storage.mailbox.requested_sequence + 1U;
	k_sem_reset(&core1_event);
	core1_storage.mailbox.command = command;
	core1_storage.mailbox.request_value = request_value;
	core1_memory_barrier();
	core1_storage.mailbox.requested_sequence = *sequence;
	core1_send_event();
	return 0;
}

static int wait_for_command_locked(uint32_t sequence, int64_t deadline_ms)
{
	while (true) {
		core1_memory_barrier();
		if (core1_storage.mailbox.completed_sequence == sequence) {
			break;
		}
		if (core1_storage.mailbox.state == PICOSYSTEM_CORE1_STATE_FAULT) {
			return (core1_storage.mailbox.error != 0) ? core1_storage.mailbox.error
								  : -EIO;
		}
		if (deadline_expired(deadline_ms)) {
			return -ETIMEDOUT;
		}
		const int err = wait_for_core1_event(deadline_ms);
		if (err != 0) {
			return err;
		}
	}

	core1_memory_barrier();
	if (core1_storage.mailbox.error != 0) {
		return core1_storage.mailbox.error;
	}
	return 0;
}

static int execute_command_locked(enum core1_command command, uint32_t request_value)
{
	uint32_t sequence;
	int err = start_command_locked(command, request_value, &sequence);
	if (err != 0) {
		return err;
	}

	return wait_for_command_locked(sequence, k_uptime_get() + CORE1_COMMAND_TIMEOUT_MS);
}

int picosystem_core1_ping(uint32_t challenge, uint32_t *response)
{
	if (response == NULL) {
		return -EINVAL;
	}

	int err = k_mutex_lock(&core1_command_mutex, K_MSEC(CORE1_COMMAND_TIMEOUT_MS));
	if (err != 0) {
		return err;
	}

	err = execute_command_locked(CORE1_COMMAND_PING, challenge);
	if (err == 0) {
		*response = core1_storage.mailbox.response_value;
	}
	k_mutex_unlock(&core1_command_mutex);
	return err;
}

int picosystem_core1_draw_dense(uint32_t frame_index, struct picosystem_core1_dense_result *result)
{
	if (result == NULL) {
		return -EINVAL;
	}
	*result = (struct picosystem_core1_dense_result){0};

	int err = k_mutex_lock(&core1_command_mutex, K_MSEC(CORE1_COMMAND_TIMEOUT_MS));
	if (err != 0) {
		return err;
	}

	err = execute_command_locked(CORE1_COMMAND_DRAW_DENSE, frame_index);
	if (err == 0) {
		for (size_t stage = 0U; stage < ARRAY_SIZE(result->stage_time_us); ++stage) {
			result->stage_time_us[stage] =
				core1_storage.mailbox.dense_stage_time_us[stage];
		}
		result->total_time_us = core1_storage.mailbox.dense_total_time_us;
	}
	k_mutex_unlock(&core1_command_mutex);
	return err;
}

int picosystem_core1_render_scene(const struct picosystem_scene_snapshot *snapshot,
				  struct picosystem_core1_scene_result *result)
{
	if ((snapshot == NULL) || (result == NULL)) {
		return -EINVAL;
	}
	*result = (struct picosystem_core1_scene_result){0};

	int err = k_mutex_lock(&core1_command_mutex, K_MSEC(CORE1_COMMAND_TIMEOUT_MS));
	if (err != 0) {
		return err;
	}

	memcpy(&core1_storage.mailbox.scene_snapshot, snapshot, sizeof(*snapshot));
	err = execute_command_locked(CORE1_COMMAND_RENDER_SCENE, 0U);
	if (err == 0) {
		result->raster_time_us = core1_storage.mailbox.scene_raster_time_us;
	}
	k_mutex_unlock(&core1_command_mutex);
	return err;
}

static int wait_for_ready_strip_locked(uint32_t sequence, uint32_t ready_count)
{
	const int64_t deadline_ms = k_uptime_get() + CORE1_COMMAND_TIMEOUT_MS;
	while (true) {
		core1_memory_barrier();
		if (core1_storage.mailbox.ready_strip_count >= ready_count) {
			return 0;
		}
		if (core1_storage.mailbox.completed_sequence == sequence) {
			return (core1_storage.mailbox.error != 0) ? core1_storage.mailbox.error
								  : -EIO;
		}
		if (core1_storage.mailbox.state == PICOSYSTEM_CORE1_STATE_FAULT) {
			return (core1_storage.mailbox.error != 0) ? core1_storage.mailbox.error
								  : -EIO;
		}
		if (deadline_expired(deadline_ms)) {
			return -ETIMEDOUT;
		}
		const int err = wait_for_core1_event(deadline_ms);
		if (err != 0) {
			return err;
		}
	}
}

int picosystem_core1_render_scene_stream(const struct picosystem_scene_snapshot *snapshot,
					 picosystem_core1_scene_strip_consumer consumer,
					 void *consumer_context,
					 struct picosystem_core1_scene_result *result)
{
	if ((snapshot == NULL) || (consumer == NULL) || (result == NULL)) {
		return -EINVAL;
	}
	*result = (struct picosystem_core1_scene_result){0};

	int err = k_mutex_lock(&core1_command_mutex, K_MSEC(CORE1_COMMAND_TIMEOUT_MS));
	if (err != 0) {
		return err;
	}

	memcpy(&core1_storage.mailbox.scene_snapshot, snapshot, sizeof(*snapshot));
	core1_storage.mailbox.ready_strip_count = 0U;
	core1_storage.mailbox.scene_strip_count = CORE1_SCENE_STRIP_COUNT;
	uint32_t sequence;
	err = start_command_locked(CORE1_COMMAND_RENDER_SCENE_STREAM, 0U, &sequence);
	const bool command_started = err == 0;
	for (uint32_t strip_index = 0U; (err == 0) && (strip_index < CORE1_SCENE_STRIP_COUNT);
	     ++strip_index) {
		err = wait_for_ready_strip_locked(sequence, strip_index + 1U);
		if (err != 0) {
			break;
		}

		const uint16_t y = strip_index * CORE1_SCENE_STRIP_ROWS;
		const struct picosystem_rect region = {
			.x = 0U,
			.y = y,
			.width = PICOSYSTEM_GRAPHICS_WIDTH,
			.height = MIN(CORE1_SCENE_STRIP_ROWS, PICOSYSTEM_GRAPHICS_HEIGHT - y),
		};
		err = consumer(&region, consumer_context);
	}

	const int completion_err =
		command_started ? wait_for_command_locked(sequence,
							  k_uptime_get() + CORE1_COMMAND_TIMEOUT_MS)
				: err;
	if (err == 0) {
		err = completion_err;
	}
	if (completion_err == 0) {
		result->raster_time_us = core1_storage.mailbox.scene_raster_time_us;
		result->strip_count = core1_storage.mailbox.scene_strip_count;
	}
	k_mutex_unlock(&core1_command_mutex);
	return err;
}

bool picosystem_core1_is_ready(void)
{
	core1_memory_barrier();
	return core1_ready && (core1_storage.mailbox.state != PICOSYSTEM_CORE1_STATE_FAULT);
}

int picosystem_core1_get_status(struct picosystem_core1_status *status)
{
	if (status == NULL) {
		return -EINVAL;
	}

	core1_memory_barrier();
	uint32_t untouched_words = 0U;
	while ((untouched_words < ARRAY_SIZE(core1_storage.stack)) &&
	       (core1_storage.stack[untouched_words] == CORE1_STACK_CANARY)) {
		++untouched_words;
	}

	*status = (struct picosystem_core1_status){
		.requested_sequence = core1_storage.mailbox.requested_sequence,
		.completed_sequence = core1_storage.mailbox.completed_sequence,
		.heartbeat_count = core1_storage.mailbox.heartbeat_count,
		.stack_size_bytes = CORE1_STACK_BYTES,
		.stack_used_bytes = CORE1_STACK_BYTES - (untouched_words * sizeof(uint32_t)),
		.last_scene_raster_time_us = core1_storage.mailbox.scene_raster_time_us,
		.ready_strip_count = core1_storage.mailbox.ready_strip_count,
		.scene_strip_count = core1_storage.mailbox.scene_strip_count,
		.scene_item_index = core1_storage.mailbox.scene_progress.item_index,
		.core_id = core1_storage.mailbox.core_id,
		.error = core1_storage.mailbox.error,
		.scene_stage = (enum picosystem_scene_render_stage)
				       core1_storage.mailbox.scene_progress.stage,
		.scene_primitive = (enum picosystem_scene_render_primitive)
					   core1_storage.mailbox.scene_progress.primitive,
		.state = (enum picosystem_core1_state)core1_storage.mailbox.state,
		.ready = core1_ready,
	};
	return 0;
}

const char *picosystem_core1_state_name(enum picosystem_core1_state state)
{
	switch (state) {
	case PICOSYSTEM_CORE1_STATE_OFFLINE:
		return "offline";
	case PICOSYSTEM_CORE1_STATE_BOOTING:
		return "booting";
	case PICOSYSTEM_CORE1_STATE_IDLE:
		return "idle";
	case PICOSYSTEM_CORE1_STATE_RUNNING:
		return "running";
	case PICOSYSTEM_CORE1_STATE_STOPPED:
		return "stopped";
	case PICOSYSTEM_CORE1_STATE_FAULT:
		return "fault";
	default:
		return "unknown";
	}
}
```

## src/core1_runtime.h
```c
/*
 * Copyright (c) 2026 Toy Factory contributors
 *
 * SPDX-License-Identifier: Apache-2.0
 */

#ifndef PICOSYSTEM_CORE1_RUNTIME_H_
#define PICOSYSTEM_CORE1_RUNTIME_H_

#include <stdbool.h>
#include <stdint.h>

#include "dense_scene.h"
#include "scene_renderer.h"

enum picosystem_core1_state {
	PICOSYSTEM_CORE1_STATE_OFFLINE,
	PICOSYSTEM_CORE1_STATE_BOOTING,
	PICOSYSTEM_CORE1_STATE_IDLE,
	PICOSYSTEM_CORE1_STATE_RUNNING,
	PICOSYSTEM_CORE1_STATE_STOPPED,
	PICOSYSTEM_CORE1_STATE_FAULT,
};

struct picosystem_core1_status {
	uint32_t requested_sequence;
	uint32_t completed_sequence;
	uint32_t heartbeat_count;
	uint32_t stack_size_bytes;
	uint32_t stack_used_bytes;
	uint32_t last_scene_raster_time_us;
	uint32_t ready_strip_count;
	uint32_t scene_strip_count;
	uint32_t scene_item_index;
	uint32_t core_id;
	int error;
	enum picosystem_scene_render_stage scene_stage;
	enum picosystem_scene_render_primitive scene_primitive;
	enum picosystem_core1_state state;
	bool ready;
};

struct picosystem_core1_dense_result {
	uint32_t stage_time_us[PICOSYSTEM_DENSE_SCENE_STAGE_COUNT];
	uint32_t total_time_us;
};

struct picosystem_core1_scene_result {
	uint32_t raster_time_us;
	uint16_t strip_count;
};

typedef int (*picosystem_core1_scene_strip_consumer)(const struct picosystem_rect *region,
						     void *context);

/* Launch the bare-metal core-1 worker and verify its shared-memory protocol. */
int picosystem_core1_init(void);

/* Execute one bounded round trip through shared SRAM. */
int picosystem_core1_ping(uint32_t challenge, uint32_t *response);

/* Rasterize one deterministic dense frame and report core-1-only wall times. */
int picosystem_core1_draw_dense(uint32_t frame_index, struct picosystem_core1_dense_result *result);

/* Copy an immutable scene snapshot, rasterize it on core 1, and wait for completion. */
int picosystem_core1_render_scene(const struct picosystem_scene_snapshot *snapshot,
				  struct picosystem_core1_scene_result *result);

/* Rasterize final, non-overlapping strips while core 0 consumes earlier strips. */
int picosystem_core1_render_scene_stream(const struct picosystem_scene_snapshot *snapshot,
					 picosystem_core1_scene_strip_consumer consumer,
					 void *consumer_context,
					 struct picosystem_core1_scene_result *result);

bool picosystem_core1_is_ready(void);

/* Copy health and stack high-water information owned by the two cores. */
int picosystem_core1_get_status(struct picosystem_core1_status *status);

const char *picosystem_core1_state_name(enum picosystem_core1_state state);

#endif /* PICOSYSTEM_CORE1_RUNTIME_H_ */
```

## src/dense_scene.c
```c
/*
 * Copyright (c) 2026 Toy Factory contributors
 *
 * SPDX-License-Identifier: Apache-2.0
 */

#include "dense_scene.h"

#include <errno.h>
#include <stddef.h>
#include <stdint.h>

#include "graphics.h"

#define DENSE_COLUMNS      8U
#define DENSE_ROWS         8U
#define DENSE_CELL_WIDTH   (PICOSYSTEM_GRAPHICS_WIDTH / DENSE_COLUMNS)
#define DENSE_CELL_HEIGHT  (PICOSYSTEM_GRAPHICS_HEIGHT / DENSE_ROWS)
#define DENSE_BODY_RADIUS  10U
#define DENSE_MOTION_STEPS 7U

struct dense_scene_point {
	int16_t x;
	int16_t y;
};

static const picosystem_color_t dense_colors[] = {
	PICOSYSTEM_COLOR_RED,   PICOSYSTEM_COLOR_GREEN,   PICOSYSTEM_COLOR_BLUE,
	PICOSYSTEM_COLOR_CYAN,  PICOSYSTEM_COLOR_MAGENTA, PICOSYSTEM_COLOR_YELLOW,
	PICOSYSTEM_COLOR_WHITE, PICOSYSTEM_COLOR_NAVY,
};

static struct dense_scene_point dense_body_center(uint8_t row, uint8_t column, uint32_t frame_index)
{
	const int16_t base_x = (int16_t)((column * DENSE_CELL_WIDTH) + (DENSE_CELL_WIDTH / 2U));
	const int16_t base_y = (int16_t)((row * DENSE_CELL_HEIGHT) + (DENSE_CELL_HEIGHT / 2U));
	const int16_t motion_x =
		(int16_t)((frame_index + ((uint32_t)row * 3U) + ((uint32_t)column * 5U)) %
			  DENSE_MOTION_STEPS) -
		(int16_t)(DENSE_MOTION_STEPS / 2U);
	const int16_t motion_y =
		(int16_t)(((frame_index * 2U) + ((uint32_t)row * 5U) + ((uint32_t)column * 3U)) %
			  DENSE_MOTION_STEPS) -
		(int16_t)(DENSE_MOTION_STEPS / 2U);

	return (struct dense_scene_point){
		.x = base_x + motion_x,
		.y = base_y + motion_y,
	};
}

static void draw_dense_background(void)
{
	for (uint8_t row = 0U; row < DENSE_ROWS; ++row) {
		for (uint8_t column = 0U; column < DENSE_COLUMNS; ++column) {
			const picosystem_color_t color = (((row + column) & 1U) == 0U)
								 ? PICOSYSTEM_COLOR_NAVY
								 : PICOSYSTEM_COLOR_DARK_BLUE;
			picosystem_graphics_fill_rect((int16_t)(column * DENSE_CELL_WIDTH),
						      (int16_t)(row * DENSE_CELL_HEIGHT),
						      DENSE_CELL_WIDTH, DENSE_CELL_HEIGHT, color);
		}
	}
}

static void draw_dense_links(uint32_t frame_index)
{
	for (uint8_t row = 0U; row < DENSE_ROWS; ++row) {
		for (uint8_t column = 0U; column < DENSE_COLUMNS; ++column) {
			const struct dense_scene_point center =
				dense_body_center(row, column, frame_index);
			if ((column + 1U) < DENSE_COLUMNS) {
				const struct dense_scene_point right =
					dense_body_center(row, column + 1U, frame_index);
				picosystem_graphics_draw_line(center.x, center.y, right.x, right.y,
							      PICOSYSTEM_COLOR_CYAN);
			}
			if ((row + 1U) < DENSE_ROWS) {
				const struct dense_scene_point below =
					dense_body_center(row + 1U, column, frame_index);
				picosystem_graphics_draw_line(center.x, center.y, below.x, below.y,
							      PICOSYSTEM_COLOR_YELLOW);
			}
		}
	}
}

static void draw_dense_box(const struct dense_scene_point *center, picosystem_color_t color,
			   uint32_t frame_index)
{
	const int16_t radius = DENSE_BODY_RADIUS;
	const int16_t skew = (int16_t)(frame_index % 5U) - 2;
	const struct dense_scene_point vertices[] = {
		{.x = center->x + skew, .y = center->y - radius},
		{.x = center->x + radius, .y = center->y + skew},
		{.x = center->x - skew, .y = center->y + radius},
		{.x = center->x - radius, .y = center->y - skew},
	};

	picosystem_graphics_fill_triangle(vertices[0].x, vertices[0].y, vertices[1].x,
					  vertices[1].y, vertices[2].x, vertices[2].y, color);
	picosystem_graphics_fill_triangle(vertices[0].x, vertices[0].y, vertices[2].x,
					  vertices[2].y, vertices[3].x, vertices[3].y, color);
	for (size_t index = 0U; index < (sizeof(vertices) / sizeof(vertices[0])); ++index) {
		const size_t next = (index + 1U) % (sizeof(vertices) / sizeof(vertices[0]));
		picosystem_graphics_draw_line(vertices[index].x, vertices[index].y,
					      vertices[next].x, vertices[next].y,
					      PICOSYSTEM_COLOR_BLACK);
	}
	picosystem_graphics_draw_line(center->x, center->y, vertices[1].x, vertices[1].y,
				      PICOSYSTEM_COLOR_BLACK);
}

static picosystem_color_t dense_body_color(uint8_t row, uint8_t column, uint32_t frame_index)
{
	const size_t color_count = sizeof(dense_colors) / sizeof(dense_colors[0]);
	return dense_colors[(frame_index + ((uint32_t)row * DENSE_COLUMNS) + column) % color_count];
}

static int draw_dense_circles(uint32_t frame_index)
{
	for (uint8_t row = 0U; row < DENSE_ROWS; ++row) {
		for (uint8_t column = 0U; column < DENSE_COLUMNS; ++column) {
			if (((row + column) & 1U) != 0U) {
				continue;
			}

			const struct dense_scene_point center =
				dense_body_center(row, column, frame_index);
			const picosystem_color_t color = dense_body_color(row, column, frame_index);
			int err = picosystem_graphics_fill_circle(center.x, center.y,
								  DENSE_BODY_RADIUS, color);
			if (err == 0) {
				err = picosystem_graphics_fill_circle(center.x - 3, center.y - 3,
								      2U, PICOSYSTEM_COLOR_WHITE);
			}
			if (err != 0) {
				return err;
			}
		}
	}
	return 0;
}

static void draw_dense_boxes(uint32_t frame_index)
{
	for (uint8_t row = 0U; row < DENSE_ROWS; ++row) {
		for (uint8_t column = 0U; column < DENSE_COLUMNS; ++column) {
			if (((row + column) & 1U) == 0U) {
				continue;
			}

			const struct dense_scene_point center =
				dense_body_center(row, column, frame_index);
			const picosystem_color_t color = dense_body_color(row, column, frame_index);
			draw_dense_box(&center, color, frame_index + row + column);
		}
	}
}

int picosystem_dense_scene_draw_stage(enum picosystem_dense_scene_stage stage, uint32_t frame_index)
{
	switch (stage) {
	case PICOSYSTEM_DENSE_SCENE_STAGE_BACKGROUND:
		draw_dense_background();
		return 0;
	case PICOSYSTEM_DENSE_SCENE_STAGE_LINKS:
		draw_dense_links(frame_index);
		return 0;
	case PICOSYSTEM_DENSE_SCENE_STAGE_CIRCLES:
		return draw_dense_circles(frame_index);
	case PICOSYSTEM_DENSE_SCENE_STAGE_BOXES:
		draw_dense_boxes(frame_index);
		return 0;
	case PICOSYSTEM_DENSE_SCENE_STAGE_COUNT:
	default:
		return -EINVAL;
	}
}

int picosystem_dense_scene_draw(uint32_t frame_index)
{
	for (enum picosystem_dense_scene_stage stage = PICOSYSTEM_DENSE_SCENE_STAGE_BACKGROUND;
	     stage < PICOSYSTEM_DENSE_SCENE_STAGE_COUNT; ++stage) {
		const int err = picosystem_dense_scene_draw_stage(stage, frame_index);
		if (err != 0) {
			return err;
		}
	}
	return 0;
}
```

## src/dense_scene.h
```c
/*
 * Copyright (c) 2026 Toy Factory contributors
 *
 * SPDX-License-Identifier: Apache-2.0
 */

#ifndef PICOSYSTEM_DENSE_SCENE_H_
#define PICOSYSTEM_DENSE_SCENE_H_

#include <stdint.h>

enum picosystem_dense_scene_stage {
	PICOSYSTEM_DENSE_SCENE_STAGE_BACKGROUND,
	PICOSYSTEM_DENSE_SCENE_STAGE_LINKS,
	PICOSYSTEM_DENSE_SCENE_STAGE_CIRCLES,
	PICOSYSTEM_DENSE_SCENE_STAGE_BOXES,
	PICOSYSTEM_DENSE_SCENE_STAGE_COUNT,
};

/* Draw one deterministic stage into the shared framebuffer without using Zephyr services. */
int picosystem_dense_scene_draw_stage(enum picosystem_dense_scene_stage stage,
				      uint32_t frame_index);

/* Draw the complete deterministic scene in canonical stage order. */
int picosystem_dense_scene_draw(uint32_t frame_index);

#endif /* PICOSYSTEM_DENSE_SCENE_H_ */
```
